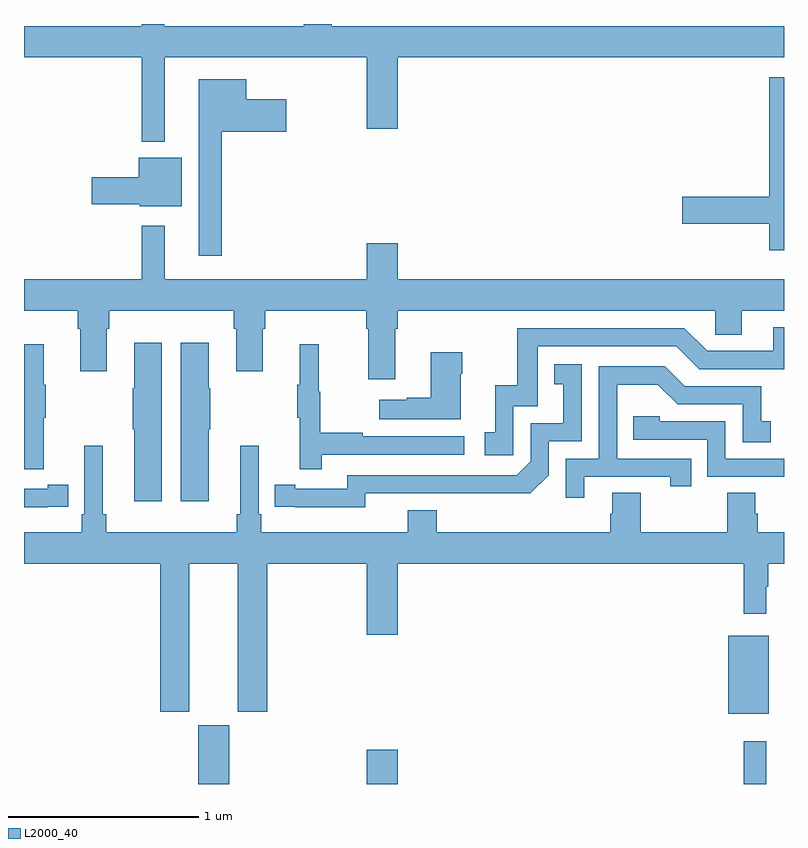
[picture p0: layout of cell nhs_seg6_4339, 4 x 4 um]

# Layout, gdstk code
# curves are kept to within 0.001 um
import gdstk
lib = gdstk.Library(unit=1e-6, precision=1e-09)
def R(c, l, rs):  # rectangles x0, y0, x1, y1
    for r in rs: c.add(gdstk.rectangle(r[:2], r[2:], *l))
def P(c, l, *ps):  # polygons
    for p in ps: c.add(gdstk.Polygon(p, *l))
L2000_40 = (2000, 40)

nhs_seg6_4339 = lib.new_cell('nhs_seg6_4339')
R(nhs_seg6_4339, L2000_40, [(367.916,955.5,368.08,955.809), (368.804,955.5,368.968,955.681), (370.789,955.5,370.907,955.726), (370.706,955.871,370.921,956.281)])
P(nhs_seg6_4339, L2000_40, [(367.741,959.324),(368.804,959.324),(368.804,958.95),(368.968,958.95),(368.968,959.324),(371,959.324),(371,959.488),(368.62,959.488),(368.62,959.5),(368.473,959.5),(368.473,959.488),(367.737,959.488),(367.737,959.5),(367.621,959.5),(367.621,959.488),(367,959.488),(367,959.324),(367.62,959.324),(367.62,958.88),(367.741,958.88)],
  [(371,959.221),(370.922,959.221),(370.922,958.592),(370.464,958.592),(370.464,958.45),(370.922,958.45),(370.922,958.31),(371,958.31)],
  [(368.041,958.934),(368.38,958.934),(368.38,959.104),(368.17,959.104),(368.17,959.209),(367.919,959.209),(367.919,958.281),(368.041,958.281)],
  [(367.831,958.795),(367.604,958.795),(367.604,958.694),(367.356,958.694),(367.356,958.552),(367.608,958.552),(367.608,958.541),(367.831,958.541)],
  [(368.953,957.896),(368.966,957.896),(368.966,957.992),(370.638,957.992),(370.638,957.865),(370.777,957.865),(370.777,957.992),(371,957.992),(371,958.156),(368.968,958.156),(368.968,958.345),(368.804,958.345),(368.804,958.156),(367.741,958.156),(367.741,958.438),(367.62,958.438),(367.62,958.156),(367,958.156),(367,957.992),(367.283,957.992),(367.283,957.896),(367.295,957.896),(367.295,957.672),(367.435,957.672),(367.435,957.896),(367.448,957.896),(367.448,957.992),(368.105,957.992),(368.105,957.896),(368.117,957.896),(368.117,957.672),(368.257,957.672),(368.257,957.896),(368.27,957.896),(368.27,957.992),(368.801,957.992),(368.801,957.896),(368.813,957.896),(368.813,957.63),(368.953,957.63)],
  [(369.576,957.489),(369.705,957.489),(369.705,957.804),(370.434,957.804),(370.554,957.684),(371,957.684),(371,957.903),(370.943,957.903),(370.943,957.78),(370.596,957.78),(370.476,957.9),(369.597,957.9),(369.597,957.598),(369.479,957.598),(369.479,957.351),(369.426,957.351),(369.426,957.231),(369.576,957.231)],
  [(367.972,957.367),(367.98,957.367),(367.98,957.584),(367.972,957.584),(367.972,957.823),(367.826,957.823),(367.826,956.988),(367.972,956.988)],
  [(367.726,957.823),(367.58,957.823),(367.58,957.584),(367.573,957.584),(367.573,957.367),(367.58,957.367),(367.58,956.988),(367.726,956.988)],
  [(367.103,957.427),(367.114,957.427),(367.114,957.601),(367.103,957.601),(367.103,957.814),(367,957.814),(367,957.156),(367.103,957.156)],
  [(368.567,957.234),(369.316,957.234),(369.316,957.33),(368.783,957.33),(368.783,957.35),(368.56,957.35),(368.56,957.564),(368.552,957.564),(368.552,957.814),(368.45,957.814),(368.45,957.601),(368.439,957.601),(368.439,957.427),(368.45,957.427),(368.45,957.156),(368.567,957.156)],
  [(369.298,957.659),(369.306,957.659),(369.306,957.772),(369.14,957.772),(369.14,957.533),(369.014,957.533),(369.014,957.523),(368.871,957.523),(368.871,957.419),(369.298,957.419)],
  [(368.796,957.03),(369.664,957.029),(369.762,957.126),(369.762,957.303),(369.936,957.303),(369.936,957.709),(369.79,957.709),(369.79,957.603),(369.839,957.603),(369.839,957.399),(369.666,957.399),(369.666,957.198),(369.594,957.126),(368.7,957.126),(368.7,957.054),(368.428,957.054),(368.428,957.074),(368.32,957.074),(368.32,956.958),(368.796,956.957)],
  [(369.949,957.117),(370.4,957.117),(370.4,957.066),(370.511,957.066),(370.511,957.213),(370.122,957.213),(370.122,957.602),(370.336,957.602),(370.44,957.498),(370.782,957.498),(370.782,957.3),(370.93,957.3),(370.93,957.409),(370.881,957.409),(370.881,957.594),(370.477,957.594),(370.372,957.699),(370.026,957.699),(370.026,957.213),(369.852,957.213),(369.852,957.006),(369.949,957.006)],
  [(371,957.213),(370.692,957.213),(370.692,957.408),(370.347,957.408),(370.347,957.435),(370.207,957.435),(370.207,957.312),(370.596,957.312),(370.596,957.117),(371,957.117)],
  [(367.87,956.66),(368.126,956.66),(368.126,955.881),(368.279,955.881),(368.279,956.66),(368.804,956.66),(368.804,956.286),(368.968,956.286),(368.968,956.66),(370.789,956.66),(370.789,956.397),(370.906,956.397),(370.906,956.537),(370.918,956.537),(370.918,956.66),(371,956.66),(371,956.824),(370.862,956.824),(370.862,956.922),(370.849,956.922),(370.849,957.032),(370.702,957.032),(370.702,956.824),(370.245,956.824),(370.245,957.032),(370.097,957.032),(370.097,956.922),(370.085,956.922),(370.085,956.824),(369.173,956.824),(369.173,956.941),(369.02,956.941),(369.02,956.824),(368.249,956.824),(368.249,956.92),(368.235,956.92),(368.235,957.28),(368.138,957.28),(368.138,956.92),(368.119,956.92),(368.119,956.824),(367.433,956.824),(367.433,956.92),(367.414,956.92),(367.414,957.28),(367.317,957.28),(367.317,956.92),(367.304,956.92),(367.304,956.824),(367,956.824),(367,956.66),(367.718,956.66),(367.718,955.881),(367.87,955.881)],
  [(367.124,956.958),(367.232,956.958),(367.232,957.074),(367.124,957.074),(367.124,957.054),(367,957.054),(367,956.957),(367.124,956.957)])

lib.write_gds('nhs_seg6_4339.gds')
